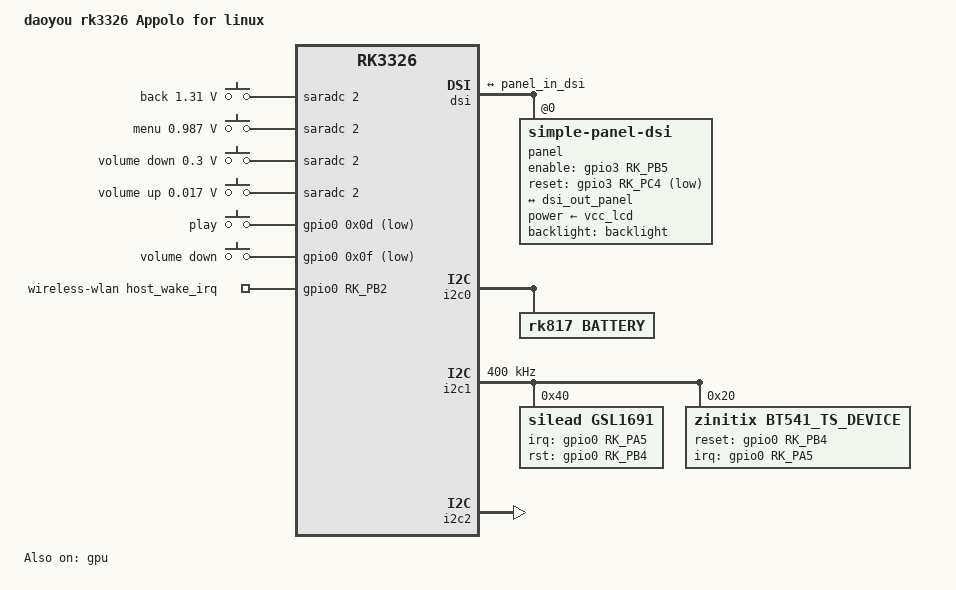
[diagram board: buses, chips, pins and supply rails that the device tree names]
// SPDX-License-Identifier: (GPL-2.0+ OR MIT)
/*
 * Copyright (c) 2026 Opendaoyou
 */

/dts-v1/;
#include "rk3326.dtsi"
#include "rk3326-linux.dtsi"	
#include "rk3326-common.dtsi"

/ {
	model = "daoyou rk3326 Appolo for linux";
	compatible = "daoyou,rk3326-appolo", "rockchip,rk3326";

	chosen {
		bootargs = "earlycon=uart8250,mmio32,0xff160000 console=tty1 rw root=PARTUUID=614e0000-0000 rootfstype=ext4 rootwait";
    };

	adc-keys {
		compatible = "adc-keys";
		io-channels = <&saradc 2>;
		io-channel-names = "buttons";
		poll-interval = <100>;
		keyup-threshold-microvolt = <1800000>;

		esc-key {
			linux,code = <KEY_BACK>;
			label = "back";
			press-threshold-microvolt = <1310000>;
		};

		menu-key {
			linux,code = <KEY_MENU>;
			label = "menu";
			press-threshold-microvolt = <987000>;
		};

		vol-down-key {
			linux,code = <KEY_VOLUMEDOWN>;
			label = "volume down";
			press-threshold-microvolt = <300000>;
		};

		vol-up-key {
			linux,code = <KEY_VOLUMEUP>;
			label = "volume up";
			press-threshold-microvolt = <17000>;
		};
	};

	gpio-keys {
		status = "okay";
		compatible = "gpio-keys";

		swl {
			gpios = <&gpio0 0x0d 0x01>;
			linux,code = <KEY_PLAYPAUSE>;
			label = "play";
			debounce-interval = <5>;
		};

		swr {
			gpios = <&gpio0 0x0f 0x01>;
			linux,code = <KEY_VOLUMEDOWN>;
			label = "volume down";
			debounce-interval = <5>;
		};
	};

	/*
 *  keys layout:
 *
 *     __________________
 *    |                 |
 *    |            pwr  |
 *    |      LCD   swl  | 
 *    |            swr  |
 *    |_________________|
 *
 *  adc:    [ esc ]
 *
 *   [ memu ]     [ vol- ]
 *
 *         [ vol+ ]
 *
 */
 	wireless-wlan {
		compatible = "wlan-platdata";
		wifi_chip_type = "rtl8723ds";
		WIFI,host_wake_irq = <&gpio0 RK_PB2 GPIO_ACTIVE_HIGH>;
		status = "okay";
	};
};

&dsi {
	status = "okay";

	panel@0 {
		compatible = "simple-panel-dsi";
		reg = <0>;
		backlight = <&backlight>;
		power-supply = <&vcc_lcd>;
		enable-gpios = <&gpio3 RK_PB5 GPIO_ACTIVE_HIGH>;
		reset-gpios = <&gpio3 RK_PC4 GPIO_ACTIVE_LOW>;
		prepare-delay-ms = <20>;
		reset-delay-ms = <50>;
		init-delay-ms = <120>;
		enable-delay-ms = <50>;
		disable-delay-ms = <20>;
		unprepare-delay-ms = <20>;

		width-mm = <68>;
		height-mm = <121>;

		dsi,flags = <(MIPI_DSI_MODE_VIDEO | MIPI_DSI_MODE_VIDEO_BURST |
			      MIPI_DSI_MODE_LPM | MIPI_DSI_MODE_NO_EOT_PACKET)>;
		dsi,format = <MIPI_DSI_FMT_RGB888>;
		dsi,lanes = <2>;

		panel-init-sequence = [39 00 06 ff 77 01 00 00 13 15 00 02 ef 08 39 00 06 ff 77 01 00 00 10 39 00 03 c0 4f 00 39 00 03 c1 10 0c 39 00 03 c2 01 14 15 00 02 cc 10 39 00 11 b0 0a 18 1e 12 16 0c 0e 0d 0c 29 06 14 13 29 33 1c 39 00 11 b1 0a 19 21 0a 0c 00 0c 03 03 23 01 0e 0c 27 2b 1c 39 00 06 ff 77 01 00 00 11 15 00 02 b0 5d 15 00 02 b1 4b 15 00 02 b2 84 15 00 02 b3 80 15 00 02 b5 4d 15 00 02 b7 85 15 00 02 b8 20 15 00 02 c1 78 15 00 02 c2 78 15 00 02 d0 88 39 00 04 e0 00 00 02 39 00 0c e1 06 a0 08 a0 05 a0 07 a0 00 44 44 39 00 0d e2 20 20 44 44 96 a0 00 00 96 a0 00 00 39 00 05 e3 00 00 22 22 39 00 03 e4 44 44 39 00 11 e5 0d 91 0a a0 0f 93 0a a0 09 8d 0a a0 0b 8f 0a a0 39 00 05 e6 00 00 22 22 39 00 03 e7 44 44 39 00 11 e8 0c 90 0a a0 0e 92 0a a0 08 8c 0a a0 0a 8e 0a a0 39 00 03 e9 36 00 39 00 07 eb 00 01 e4 e4 88 40 39 00 11 ed ff 45 67 fa 01 2b cf ff ff fc b2 10 af 76 54 ff 39 00 07 ef 10 0d 04 08 3f 1f 05 78 01 11 15 00 02 35 00 05 14 01 29];
		panel-exit-sequence = <0x5000128 0x5780110>;

		display-timings {
			native-mode = <&timing0>;

			timing0: timing0 {
				clock-frequency = <33000000>;
				hactive = <480>;
				vactive = <640>;
				hback-porch = <160>;
				hfront-porch = <160>;
				hsync-len = <8>;	
				vback-porch = <20>;
				vfront-porch = <20>;
				vsync-len = <8>;
				hsync-active = <0>;
				vsync-active = <0>;
				de-active = <0>;
				pixelclk-active = <0>;
			};
		};

		ports {
			#address-cells = <1>;
			#size-cells = <0>;

			port@0 {
				reg = <0>;
				panel_in_dsi: endpoint {
					remote-endpoint = <&dsi_out_panel>;
				};
			};
		};
	};

	ports {
		#address-cells = <1>;
		#size-cells = <0>;

		port@1 {
			reg = <1>;
			dsi_out_panel: endpoint {
				remote-endpoint = <&panel_in_dsi>;
			};
		};
	};
};

&i2c0 {
	
	battery {
		compatible = "rk817,battery";
		ocv_table = <3400 3649 3680 3702 3729 3750 3773 3791 3809 3831 3858 3893 3951 3991 4053 4100 4154 4211 4268 4326 4379>;
		design_capacity = <1510>;
		design_qmax = <1530>;
		bat_res = <110>;
		sleep_enter_current = <30>;
		sleep_exit_current = <30>;
		sleep_filter_current = <20>;
		power_off_thresd = <3000>;
		zero_algorithm_vol = <3000>;
		max_soc_offset = <60>;
		monitor_sec = <5>;
		sample_res = <26>;
		virtual_power = <0>;
	};
};

&i2c1 {
	status = "okay";
	clock-frequency = <400000>;
	i2c-scl-rising-time-ns = <275>;
	i2c-scl-falling-time-ns = <16>;

	silead@40 {
		status = "okay";
		compatible = "silead,gsl1691";
		reg = <0x40>;
		irq_gpio = <&gpio0 RK_PA5 8>;
		rst_gpio = <&gpio0 RK_PB4 0>;
	};

    zinitix@20 {
		status = "okay";
		compatible = "zinitix,bt541_ts_device";
		reg = <0x20>;
		zinitix,reset-gpio = <&gpio0 RK_PB4 0>;
		zinitix,irq-gpio = <&gpio0 RK_PA5 8>;
		zinitix,x_resolution = <0x1e0>;
		zinitix,y_resolution = <0x280>;
		zinitix,page_size = <0x80>;
		zinitix,orientation = <0x00>;
		zinitix,pname = "SM-G5308W";
	};
};

&i2c2 {
	status = "okay";
};



&vip_mmu {
	status = "okay";
};

/* Panfrost driver */
&gpu {
	mali-supply = <&vdd_logic>;
    interrupts = <GIC_SPI 47 IRQ_TYPE_LEVEL_HIGH>,
                 <GIC_SPI 46 IRQ_TYPE_LEVEL_HIGH>,
                 <GIC_SPI 45 IRQ_TYPE_LEVEL_HIGH>;

    interrupt-names = "job", "mmu", "gpu";
    status = "okay";
};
